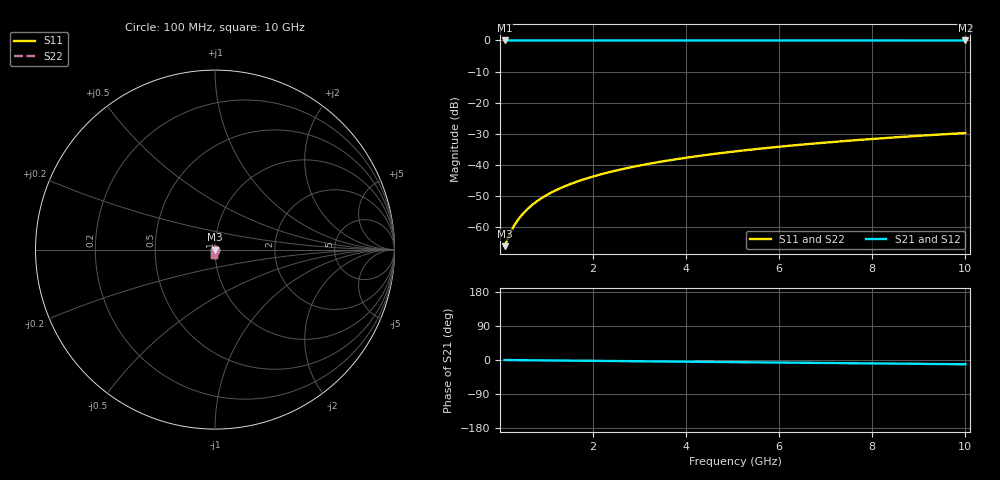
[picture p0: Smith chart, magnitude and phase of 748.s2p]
# Hz S RI R 50.00
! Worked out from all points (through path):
!   100 points, 100 MHz to 10 GHz, reference 50 ohm
!   highest |S21| = 0.00 dB at 100 MHz (marker M1); lowest = 0.0 dB at 10 GHz (marker M2)
!   group delay of S21, straight-line fit = 3.12 ps
!   lowest |S11| = -66.2 dB at 100 MHz (marker M3), VSWR 1.00, Z = 50 - j0.0323 ohm
!   |S11| at or under -10 dB: start of sweep to end of sweep
!   |S22| runs from -66.2 to -29.8 dB; largest |S21 - S12| = 0
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1e8  0.000368 -0.000322  0.9996 -0.00194  0.9996 -0.00194  0.000368 -0.000322
2e8  0.000368 -0.000645  0.9996 -0.00388  0.9996 -0.00388  0.000368 -0.000645
3e8  0.000366 -0.000968  0.9996 -0.00582  0.9996 -0.00582  0.000366 -0.000968
4e8  0.000362 -0.00129  0.9996 -0.00776  0.9996 -0.00776  0.000362 -0.00129
5e8  0.000356 -0.00161  0.9996 -0.0097  0.9996 -0.0097  0.000356 -0.00161
6e8  0.00035 -0.00194  0.9995 -0.0116  0.9995 -0.0116  0.00035 -0.00194
7e8  0.000341 -0.00226  0.9995 -0.0136  0.9995 -0.0136  0.000341 -0.00226
9e8  0.000321 -0.0029  0.9995 -0.0175  0.9995 -0.0175  0.000321 -0.0029
1e9  0.000309 -0.00323  0.9994 -0.0194  0.9994 -0.0194  0.000309 -0.00323
1.2e9  0.000281 -0.00387  0.9993 -0.0233  0.9993 -0.0233  0.000281 -0.00387
1.5e9  0.000229 -0.00484  0.9992 -0.0291  0.9992 -0.0291  0.000229 -0.00484
1.8e9  0.000165 -0.00582  0.999 -0.0349  0.999 -0.0349  0.000165 -0.00582
2.1e9  9.03e-05 -0.00679  0.9987 -0.0408  0.9987 -0.0408  9.03e-05 -0.00679
2.5e9  -2.77e-05 -0.00808  0.9984 -0.0485  0.9984 -0.0485  -2.77e-05 -0.00808
2.9e9  -0.000166 -0.00938  0.9979 -0.0563  0.9979 -0.0563  -0.000166 -0.00938
3.4e9  -0.000368 -0.011  0.9973 -0.0661  0.9973 -0.0661  -0.000368 -0.011
4.2e9  -0.000758 -0.0136  0.9961 -0.0816  0.9961 -0.0816  -0.000758 -0.0136
5.1e9  -0.00129 -0.0165  0.9945 -0.0992  0.9945 -0.0992  -0.00129 -0.0165
5.9e9  -0.00186 -0.0191  0.9927 -0.1148  0.9927 -0.1148  -0.00186 -0.0191
6.7e9  -0.0025 -0.0216  0.9907 -0.1304  0.9907 -0.1304  -0.0025 -0.0216
8.4e9  -0.00414 -0.027  0.9856 -0.1636  0.9856 -0.1636  -0.00414 -0.027
1e10  -0.00601 -0.0318  0.9797 -0.1948  0.9797 -0.1948  -0.00601 -0.0318
